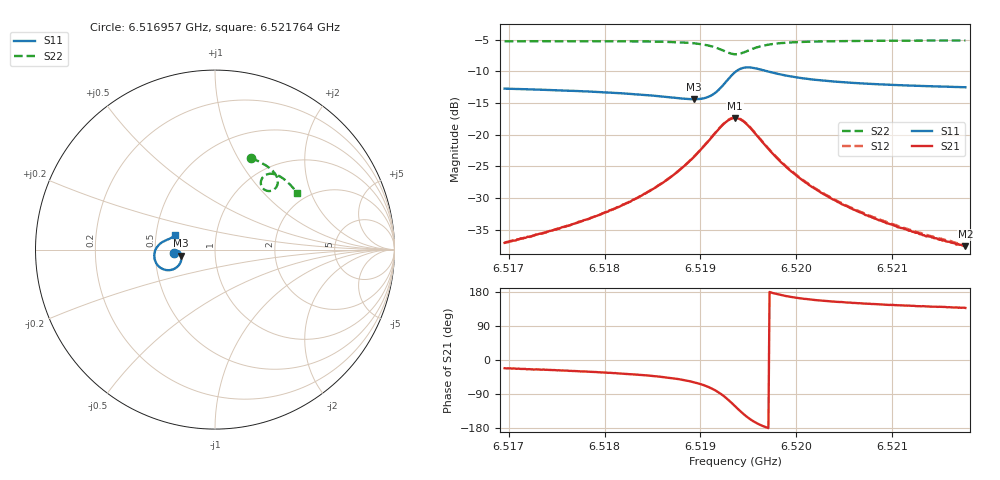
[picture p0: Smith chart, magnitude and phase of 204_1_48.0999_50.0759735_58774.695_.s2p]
#  HZ  S  RI  R  50.00
! Rohde & Schwarz Vector Network Analyzer
! Rohde-Schwarz,ZNB20-2Port,1311601062101988,3.16
! Created: UTC 12/23/2023, 3:55:05 AM
! freq[Hz]  re:S11  im:S11  re:S21  im:S21  re:S12  im:S12  re:S22  im:S22
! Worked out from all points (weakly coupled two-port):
!   401 points, 6.516957 GHz to 6.521764 GHz, reference 50 ohm
!   highest |S21| = -17.35 dB at 6.519361 GHz (marker M1); lowest = -37.6 dB at 6.521764 GHz (marker M2)
!   lowest |S11| = -14.4 dB at 6.518928 GHz (marker M3), VSWR 1.47, Z = 34.1 - j2.38 ohm
!   |S11| at or under -10 dB: start of sweep to 6.519371 GHz; 6.519705 GHz to end of sweep
!   |S22| runs from -7.3 to -5.1 dB; largest |S21 - S12| = 0.0042
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6.5169574e9  -0.2306 -0.0178  0.013 -0.00516  0.0131 -0.00471  0.2002 0.5103
6.517366e9  -0.2262 -0.0117  0.0152 -0.0071  0.0152 -0.00676  0.2305 0.498
6.5177625e9  -0.2206 -0.00715  0.018 -0.0104  0.0182 -0.00981  0.2597 0.4832
6.5182552e9  -0.2107 -0.0051  0.0233 -0.0179  0.024 -0.0169  0.2967 0.46
6.5185676e9  -0.2014 -0.00926  0.0288 -0.0277  0.0297 -0.0268  0.3209 0.4392
6.5187599e9  -0.194 -0.0177  0.0326 -0.0388  0.0341 -0.0382  0.3357 0.4211
6.5189281e9  -0.1878 -0.0336  0.0346 -0.0565  0.0368 -0.0556  0.347 0.3987
6.5190363e9  -0.1871 -0.0518  0.0322 -0.0741  0.0347 -0.0739  0.3502 0.3784
6.5191324e9  -0.1943 -0.0756  0.0219 -0.096  0.0251 -0.0959  0.3456 0.3558
6.5192646e9  -0.236 -0.111  -0.0207 -0.124  -0.0173 -0.1255  0.3134 0.3276
6.5193127e9  -0.2634 -0.1147  -0.0458 -0.1246  -0.0426 -0.127  0.2938 0.3267
6.5193607e9  -0.2927 -0.1074  -0.0712 -0.1154  -0.0686 -0.1183  0.2747 0.3344
6.5194088e9  -0.3174 -0.0896  -0.0913 -0.0967  -0.0892 -0.1001  0.2606 0.3501
6.5194689e9  -0.3348 -0.0587  -0.1034 -0.068  -0.1023 -0.0716  0.2552 0.3738
6.519577e9  -0.3345 -0.00902  -0.0978 -0.0257  -0.0978 -0.0288  0.2695 0.406
6.5196852e9  -0.3184 0.0201  -0.0808 -0.0035  -0.0813 -0.00588  0.292 0.4197
6.5199255e9  -0.2868 0.0456  -0.0517 0.0118  -0.0525 0.0103  0.3323 0.4199
6.5201659e9  -0.2679 0.0543  -0.036 0.0138  -0.0369 0.0129  0.3595 0.4088
6.5205384e9  -0.251 0.0615  -0.0237 0.0129  -0.0243 0.0124  0.39 0.388
6.520971e9  -0.2388 0.0679  -0.0162 0.0112  -0.0168 0.0109  0.4179 0.3624
6.5213435e9  -0.2311 0.0731  -0.0124 0.00985  -0.0131 0.00978  0.4386 0.3399
6.5217641e9  -0.2238 0.0787  -0.00967 0.0089  -0.0102 0.00881  0.459 0.3139
